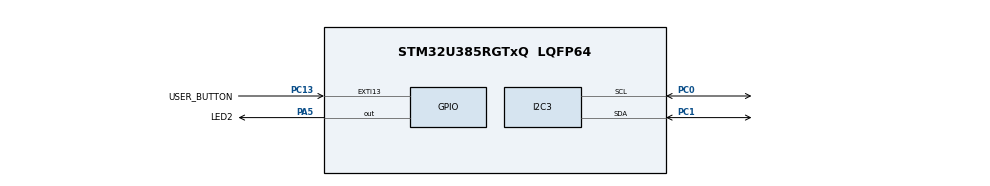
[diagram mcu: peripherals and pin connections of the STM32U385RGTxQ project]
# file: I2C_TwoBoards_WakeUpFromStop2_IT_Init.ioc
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CORTEX_M33_NS.userName=CORTEX_M33
I2C3.I2C_Fall_Time=10
I2C3.I2C_Rise_Time=50
I2C3.OwnAddress=SLAVE_OWN_ADDRESS
I2C3.Timing=0x10E0D5FF
Mcu.Family=STM32U3
Mcu.Name=STM32U385RGTxQ
Mcu.Package=LQFP64
Mcu.UserConstants=SLAVE_OWN_ADDRESS,0x5A
NVIC.EXTI13_IRQn=true\:0\:0\:false\:false\:true\:true\:true\:true
NVIC.PriorityGroup=NVIC_PRIORITYGROUP_4
PA5.GPIO_Label=LED2
PA5.GPIO_PuPd=GPIO_NOPULL
PA5.GPIO_Speed=GPIO_SPEED_FREQ_LOW
PA5.Signal=GPIO_Output
PC0.GPIO_Pu=GPIO_PULLUP
PC0.GPIO_Speed=GPIO_SPEED_FREQ_HIGH
PC0.Mode=I2C
PC0.Signal=I2C3_SCL
PC1.GPIO_Pu=GPIO_PULLUP
PC1.GPIO_Speed=GPIO_SPEED_FREQ_HIGH
PC1.Mode=I2C
PC1.Signal=I2C3_SDA
PC13.GPIO_Label=USER_BUTTON
PC13.GPIO_ModeDefaultEXTI=GPIO_MODE_IT_RISING
PC13.GPIO_PuPd=GPIO_PULLDOWN
PC13.Signal=GPXTI13
ProjectManager.HeapSize=0x200
ProjectManager.StackSize=0x400
ProjectManager.TargetToolchain=EWARM V9.30
RCC.ADCFreq_Value=96000000
RCC.AHBFreq_Value=96000000
RCC.APB1Freq_Value=96000000
RCC.APB1TimFreq_Value=96000000
RCC.APB2Freq_Value=96000000
RCC.APB2TimFreq_Value=96000000
RCC.APB3Freq_Value=96000000
RCC.CortexFreq_Value=12000000
RCC.HCLKFreq_Value=96000000
RCC.HSE_VALUE=16000000
RCC.HSI48_VALUE=48000000
RCC.HSI_VALUE=16000000
RCC.I2C1CLockSelection=RCC_I2C1CLKSOURCE_MSIK
RCC.I2C3CLockSelection=RCC_I2C3CLKSOURCE_MSIK
RCC.LSE_VALUE=32768
RCC.LSIDIV_VALUE=32000
RCC.MSISDIV=RCC_MSI_DIV1
RCC.SYSCLKFreq_VALUE=96000000
RCC.USBFreq_Value=96000000
VP_ICACHE_VS_ICACHE.Mode=DirectMappedCache
VP_PWR_VS_DBSignals.Mode=DisableDeadBatterySignals
VP_PWR_VS_LPOM.Mode=PowerOptimisation
VP_PWR_VS_SECSignals.Mode=Security/Privilege
board=custom

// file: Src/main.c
/* USER CODE BEGIN Header */
/**
  ******************************************************************************
  * @file    Examples_LL/I2C/I2C_TwoBoards_WakeUpFromStop2_IT_Init/Src/main.c
  * @author  MCD Application Team
  * @brief   This example describes how to send/receive bytes over I2C IP using
  *          the STM32U3xx I2C LL API.
  *          Peripheral initialization done using LL unitary services functions.
  ******************************************************************************
  * @attention
  *
  * Copyright (c) 2024 STMicroelectronics.
  * All rights reserved.
  *
  * This software is licensed under terms that can be found in the LICENSE file
  * in the root directory of this software component.
  * If no LICENSE file comes with this software, it is provided AS-IS.
  *
  ******************************************************************************
  */
/* USER CODE END Header */
#include "main.h"

/* USER CODE BEGIN PD */
/**
  * @brief I2C devices settings
  */
/* Timing register value is computed with the STM32CubeMX Tool,
  * Standard Mode @100kHz with I2CCLK = 96 MHz,
  * rise time = 50ns, fall time = 10ns
  * Timing Value = (uint32_t)0x00403D5A
  */
#define I2C_TIMING                     0x00403D5A

/**
  * @brief Define related to SlaveTransmit process
  */
#define SLAVE_BYTE_TO_SEND       0xA5

/* USER CODE END PD */

/* USER CODE BEGIN PV */
#ifndef SLAVE_BOARD
/**
  * @brief Variables related to MasterReceive process
  */
uint8_t      aReceiveBuffer[0xF] = {0};
__IO uint8_t ubReceiveIndex      = 0;
__IO uint8_t ubButtonPress       = 0;
#endif /* SLAVE_BOARD */
/* USER CODE END PV */

void SystemClock_Config(void);
static void MX_GPIO_Init(void);
static void MX_I2C3_Init(void);
static void MX_ICACHE_Init(void);
/* USER CODE BEGIN PFP */
void     LED_On(void);
void     LED_Off(void);
void     LED_Blinking(uint32_t Period);
#ifdef SLAVE_BOARD
void     Configure_PWR(void);
void     EnterSTOP2Mode(void);
#else /* MASTER_BOARD */
void     WaitForUserButtonPress(void);
void     Handle_I2C_Master(void);
#endif /* SLAVE_BOARD */
/* USER CODE END PFP */

int main(void)
{

  /* MCU Configuration--------------------------------------------------------*/

  /* Reset of all peripherals, Initializes the Flash interface and the Systick. */

  /* System interrupt init*/
  NVIC_SetPriorityGrouping(NVIC_PRIORITYGROUP_4);

  /* SysTick_IRQn interrupt configuration */
  NVIC_SetPriority(SysTick_IRQn, NVIC_EncodePriority(NVIC_GetPriorityGrouping(),15, 0));

  /* Configure the system clock */
  SystemClock_Config();

  /* Initialize all configured peripherals */
  MX_GPIO_Init();
  MX_I2C3_Init();
  MX_ICACHE_Init();
  /* USER CODE BEGIN 2 */

  /* Set LD2 Off */
  LED_Off();

#ifdef SLAVE_BOARD
  /* Configure Power IP */
  Configure_PWR();
  /* Enter Stop 2 mode */
  EnterSTOP2Mode();
#else /* MASTER_BOARD */

  /* Wait for User push-button press to start transfer */
  WaitForUserButtonPress();

  /* Handle I2C3 events (Master) */
  Handle_I2C_Master();
#endif /* SLAVE_BOARD */
  /* USER CODE END 2 */

  /* Infinite loop */
  while (1)
  {

  }
}

void SystemClock_Config(void)
{
  /** Enable Epod Booster
  */
  LL_AHB1_GRP2_EnableClock(LL_AHB1_GRP2_PERIPH_PWR);
  LL_RCC_SetEPODBoosterClkSource(LL_RCC_EPODBOOSTCLKSRCE_MSIS);
  LL_RCC_SetEPODBoosterClkPrescaler(LL_RCC_EPODBOOSTCLKPRESCAL_1);
  LL_PWR_EnableEPODBooster();
  while(LL_PWR_IsActiveFlag_BOOST() != 1U)
  {
  }

  /** Configure the main internal regulator output voltage
  */
  LL_PWR_SetRegulVoltageScaling(LL_PWR_REGU_VOLTAGE_SCALE1);
  while(LL_PWR_GetRegulCurrentVOS() != LL_PWR_REGU_VOLTAGE_SCALE1)
  {
  }

  /** Set Flash latency before switching to MSIS
  */
  LL_FLASH_SetLatency(LL_FLASH_LATENCY_2);
  while(LL_FLASH_GetLatency() != LL_FLASH_LATENCY_2)
  {
  }

  /** Activate MSIS as source
  */
  LL_RCC_MSIS_SetClockSource(LL_RCC_MSIS_CLOCK_SOURCE_RC0);
  LL_RCC_MSIS_SetClockDivision(LL_RCC_MSIS_CLOCK_SOURCE_RC_DIV_1);
  LL_RCC_MSI_SetMSIxClockRange();
  LL_RCC_MSIK_SetClockSource(LL_RCC_MSIK_CLOCK_SOURCE_RC0);
  LL_RCC_MSIK_SetClockDivision(LL_RCC_MSIK_CLOCK_SOURCE_RC_DIV_1);
  LL_RCC_SetSysClkSource(LL_RCC_SYS_CLKSOURCE_MSIS);

  /** Wait till System clock is ready
  */
  while(LL_RCC_GetSysClkSource() != LL_RCC_SYS_CLKSOURCE_MSIS)
  {
  }

  LL_RCC_SetAHBPrescaler(LL_RCC_HCLK_SYSCLK_DIV_1);
  LL_RCC_SetAPB1Prescaler(LL_RCC_APB1_HCLK_DIV_1);
  LL_RCC_SetAPB2Prescaler(LL_RCC_APB2_HCLK_DIV_1);
  LL_RCC_SetAPB3Prescaler(LL_RCC_APB3_HCLK_DIV_1);

  LL_Init1msTick(96000000);

  LL_SetSystemCoreClock(96000000);
}

static void MX_I2C3_Init(void)
{

  LL_I2C_InitTypeDef I2C_InitStruct = {0};

  LL_GPIO_InitTypeDef GPIO_InitStruct = {0};

  LL_RCC_SetI2CClockSource(LL_RCC_I2C3_CLKSOURCE_MSIK);

  LL_AHB2_GRP1_EnableClock(LL_AHB2_GRP1_PERIPH_GPIOC);
  /**I2C3 GPIO Configuration
  PC0   ------> I2C3_SCL
  PC1   ------> I2C3_SDA
  */
  GPIO_InitStruct.Pin = LL_GPIO_PIN_0|LL_GPIO_PIN_1;
  GPIO_InitStruct.Mode = LL_GPIO_MODE_ALTERNATE;
  GPIO_InitStruct.Speed = LL_GPIO_SPEED_FREQ_HIGH;
  GPIO_InitStruct.OutputType = LL_GPIO_OUTPUT_OPENDRAIN;
  GPIO_InitStruct.Pull = LL_GPIO_PULL_UP;
  GPIO_InitStruct.Alternate = LL_GPIO_AF_4;
  LL_GPIO_Init(GPIOC, &GPIO_InitStruct);

  /* Peripheral clock enable */
  LL_APB3_GRP1_EnableClock(LL_APB3_GRP1_PERIPH_I2C3);

  /* USER CODE BEGIN I2C3_Init 1 */
 /* Enable the I2C3 peripheral clock and I2C3 clock source ***************/

  /* Set I2C3 clock source as SYSCLK */
  LL_RCC_SetI2CClockSource(LL_RCC_I2C3_CLKSOURCE_MSIK);

  /* Configure NVIC for I2C3 **********************************************/

/* Configure NVIC for I2C3 */
  /* Configure Event IT:
   *  - Set priority for I2C3_EV_IRQn
   *  - Enable I2C3_EV_IRQn
   */
  NVIC_SetPriority(I2C3_EV_IRQn, 0);
  NVIC_EnableIRQ(I2C3_EV_IRQn);

  /* Configure Error IT:
   *  - Set priority for I2C3_ER_IRQn
   *  - Enable I2C3_ER_IRQn
   */
  NVIC_SetPriority(I2C3_ER_IRQn, 0);
  NVIC_EnableIRQ(I2C3_ER_IRQn);
  /* USER CODE END I2C3_Init 1 */

  /** I2C Initialization
  */
  LL_I2C_EnableAutoEndMode(I2C3);
  LL_I2C_DisableOwnAddress2(I2C3);
  LL_I2C_DisableGeneralCall(I2C3);
  LL_I2C_EnableClockStretching(I2C3);
  I2C_InitStruct.PeripheralMode = LL_I2C_MODE_I2C;
  I2C_InitStruct.Timing = 0x10E0D5FF;
  I2C_InitStruct.AnalogFilter = LL_I2C_ANALOGFILTER_ENABLE;
  I2C_InitStruct.DigitalFilter = 0;
  I2C_InitStruct.OwnAddress1 = SLAVE_OWN_ADDRESS;
  I2C_InitStruct.TypeAcknowledge = LL_I2C_ACK;
  I2C_InitStruct.OwnAddrSize = LL_I2C_OWNADDRESS1_7BIT;
  LL_I2C_Init(I2C3, &I2C_InitStruct);
  LL_I2C_SetOwnAddress2(I2C3, 0, LL_I2C_OWNADDRESS2_NOMASK);
  /* USER CODE BEGIN I2C3_Init 2 */
#ifdef SLAVE_BOARD
  /* Enable Wake Up From Stop */
  LL_I2C_EnableWakeUpFromStop(I2C3);

  /* Unmask wakeup with Interrupt request from I2C3 */
  LL_EXTI_EnableIT_0_31(LL_EXTI_LINE_13);

  /* (5) Enable I2C3 **********************************************************/
  LL_I2C_Enable(I2C3);

  /* (6) Enable I2C3 address match/error interrupts:
   *  - Enable Address Match Interrupt
   *  - Enable Not acknowledge received interrupt
   *  - Enable Error interrupts
   *  - Enable Stop interrupt
   */
  LL_I2C_EnableIT_ADDR(I2C3);
  LL_I2C_EnableIT_NACK(I2C3);
  LL_I2C_EnableIT_ERR(I2C3);
  LL_I2C_EnableIT_STOP(I2C3);
  #else /* MASTER_BOARD */
  LL_I2C_SetTiming(I2C3, I2C_TIMING);
  LL_I2C_EnableIT_RX(I2C3);
  LL_I2C_EnableIT_NACK(I2C3);
  LL_I2C_EnableIT_ERR(I2C3);
  LL_I2C_EnableIT_STOP(I2C3);
  #endif
  /* USER CODE END I2C3_Init 2 */

}

static void MX_ICACHE_Init(void)
{

  /** Enable instruction cache in 1-way (direct mapped cache)
  */
  LL_ICACHE_SetMode(LL_ICACHE_1WAY);
  LL_ICACHE_Enable();

}

static void MX_GPIO_Init(void)
{
  LL_EXTI_InitTypeDef EXTI_InitStruct = {0};
  LL_GPIO_InitTypeDef GPIO_InitStruct = {0};

  /* GPIO Ports Clock Enable */
  LL_AHB2_GRP1_EnableClock(LL_AHB2_GRP1_PERIPH_GPIOC);
  LL_AHB2_GRP1_EnableClock(LL_AHB2_GRP1_PERIPH_GPIOA);

  /**/
  LL_GPIO_ResetOutputPin(LED2_GPIO_Port, LED2_Pin);

  /**/
  LL_EXTI_SetEXTISource(LL_EXTI_CONFIG_PORTC, LL_EXTI_CONFIG_LINE13);

  /**/
  EXTI_InitStruct.Line_0_31 = LL_EXTI_LINE_13;
  EXTI_InitStruct.LineCommand = ENABLE;
  EXTI_InitStruct.Mode = LL_EXTI_MODE_IT;
  EXTI_InitStruct.Trigger = LL_EXTI_TRIGGER_RISING;
  LL_EXTI_Init(&EXTI_InitStruct);

  /**/
  LL_GPIO_SetPinPull(USER_BUTTON_GPIO_Port, USER_BUTTON_Pin, LL_GPIO_PULL_DOWN);

  /**/
  LL_GPIO_SetPinMode(USER_BUTTON_GPIO_Port, USER_BUTTON_Pin, LL_GPIO_MODE_INPUT);

  /**/
  GPIO_InitStruct.Pin = LED2_Pin;
  GPIO_InitStruct.Mode = LL_GPIO_MODE_OUTPUT;
  GPIO_InitStruct.Speed = LL_GPIO_SPEED_FREQ_LOW;
  GPIO_InitStruct.OutputType = LL_GPIO_OUTPUT_PUSHPULL;
  GPIO_InitStruct.Pull = LL_GPIO_PULL_NO;
  LL_GPIO_Init(LED2_GPIO_Port, &GPIO_InitStruct);

  /* EXTI interrupt init*/
  NVIC_SetPriority(EXTI13_IRQn, NVIC_EncodePriority(NVIC_GetPriorityGrouping(),0, 0));
  NVIC_EnableIRQ(EXTI13_IRQn);

}

/* USER CODE BEGIN 4 */
#ifdef SLAVE_BOARD
/**
  * @brief  Function to configure and initialize PWR IP.
  * @param  None
  * @retval None
  */
void Configure_PWR(void)
{
  /* Enable Power Clock */
  LL_AHB1_GRP2_EnableClock(LL_AHB1_GRP2_PERIPH_PWR);

  /* Ensure that HSI is wake-up system clock */
  LL_RCC_SetStopWakeupClock(LL_RCC_STOP_WAKEUP_KERCLK_MSIK);

  /* Optional: Keeping the HSI16 ON in Stop mode allows to avoid slowing down */
  /* the communication speed because of the HSI16 startup time.               */
  // LL_RCC_HSI_EnableInStopMode();
}

/**
  * @brief  Function to configure and enter in Stop 2 Mode.
  * @param  None
  * @retval None
  */
void EnterSTOP2Mode(void)
{
    /** Request to enter Stop 2 mode:
      *  - Following procedure describe in STM32U3xx Reference Manual
      *  - See PWR part, section Low-power modes, STOP2 mode
      */
    /* Set low-power mode "Stop 2" */
    LL_PWR_SetPowerMode(LL_PWR_MODE_STOP2);

    /* Set SLEEPDEEP bit of Cortex System Control Register */
    LL_LPM_EnableDeepSleep();

    /* Request Wait For Interrupt */
    __WFI();
}
#endif /* SLAVE_BOARD */

/**
  * @brief  Turn-on LD2.
  * @param  None
  * @retval None
  */
void LED_On(void)
{
  /* Turn LD2 on */
  LL_GPIO_SetOutputPin(LED2_GPIO_Port, LED2_Pin);
}

/**
  * @brief  Turn-off LD2.
  * @param  None
  * @retval None
  */
void LED_Off(void)
{
  /* Turn LD2 off */
  LL_GPIO_ResetOutputPin(LED2_GPIO_Port, LED2_Pin);
}

/**
  * @brief  Set LD2 to Blinking mode for an infinite loop (toggle period based on value provided as input parameter).
  * @param  Period : Period of time (in ms) between each toggling of LED
  *   This parameter can be user defined values. Pre-defined values used in that example are :
  *     @arg LED_BLINK_FAST : Fast Blinking
  *     @arg LED_BLINK_SLOW : Slow Blinking
  *     @arg LED_BLINK_ERROR : Error specific Blinking
  * @retval None
  */
void LED_Blinking(uint32_t Period)
{
  /* Turn LD2 on */
  LL_GPIO_SetOutputPin(LED2_GPIO_Port, LED2_Pin);

  /* Toggle IO in an infinite loop */
  while (1)
  {
    LL_GPIO_TogglePin(LED2_GPIO_Port, LED2_Pin);
    LL_mDelay(Period);
  }
}

#ifndef SLAVE_BOARD

#endif /* SLAVE_BOARD */
/******************************************************************************/
/*   IRQ HANDLER TREATMENT Functions                                          */
/******************************************************************************/
#ifdef SLAVE_BOARD
/**
  * @brief  Function called from I2C IRQ Handler when TXIS flag is set
  *         Function is in charge of transmit a byte on I2C lines.
  * @param  None
  * @retval None
  */
void Slave_Ready_To_Transmit_Callback(void)
{
  /* Send the Byte requested by the Master */
  LL_I2C_TransmitData8(I2C3, SLAVE_BYTE_TO_SEND);
}

/**
  * @brief  Function called from I2C IRQ Handler when STOP flag is set
  *         LD2 is On if data are correct.
  * @param  None
  * @retval None
  */
void Slave_Complete_Callback(void)
{
  /* Turn LD2 On:
   *  - Expected bytes have been sent
   *  - Slave Tx sequence completed successfully
   */
  LED_On();
}
#else /* MASTER_BOARD */
/**
  * @brief  Wait for User push-button press to start transfer.
  * @param  None
  * @retval None
  */
  /*  */
void WaitForUserButtonPress(void)
{
  while (ubButtonPress == 0)
  {
    LL_GPIO_TogglePin(LED2_GPIO_Port, LED2_Pin);
    LL_mDelay(LED_BLINK_FAST);
  }
  /* Turn LD2 off */
  LL_GPIO_ResetOutputPin(LED2_GPIO_Port, LED2_Pin);
}

/**
  * @brief  Function to manage User push-button
  * @param  None
  * @retval None
  */
void UserButton_Callback(void)
{
  /* Update User push-button variable : to be checked in waiting loop in main program */
  ubButtonPress = 1;
}

/**
  * @brief  This Function handle Master events to perform a transmission process
  * @note  This function is composed in one step :
  *        -1- Initiate a Start condition to the Slave device
  * @param  None
  * @retval None
  */
void Handle_I2C_Master(void)
{
  /* (1) Initiate a Start condition to the Slave device ***********************/

  /* Master Generate Start condition for a read request:
   *  - to the Slave with a 7-Bit SLAVE_OWN_ADDRESS
   *  - with a auto stop condition generation when receive 1 byte
   */
  LL_I2C_HandleTransfer(I2C3, SLAVE_OWN_ADDRESS, LL_I2C_ADDRSLAVE_7BIT, 1, LL_I2C_MODE_AUTOEND, LL_I2C_GENERATE_START_READ);
}

/**
  * @brief  Function called from I2C IRQ Handler when RXNE flag is set
  *         Function is in charge of reading byte received on I2C lines.
  * @param  None
  * @retval None
  */
void Master_Reception_Callback(void)
{
  /* Read character in Receive Data register.
  RXNE flag is cleared by reading data in RXDR register */
  aReceiveBuffer[ubReceiveIndex++] = LL_I2C_ReceiveData8(I2C3);
}

/**
  * @brief  Function called from I2C IRQ Handler when STOP flag is set
  *         Function is in charge of checking data received,
  *         LD2 is On if data are correct.
  * @param  None
  * @retval None
  */
void Master_Complete_Callback(void)
{
  /* Read Received character. RXNE flag is cleared by reading of RXDR register */
  if(aReceiveBuffer[ubReceiveIndex-1] == SLAVE_BYTE_TO_SEND)
  {
    /* Turn LD2 On:
     *  - Expected byte has been received
     *  - Master Rx sequence completed successfully
     */
    LED_On();
  }
  else
  {
    /* Call Error function */
    Error_Callback();
  }
}
#endif /* SLAVE_BOARD */

/**
  * @brief  Function called in case of error detected in I2C IT Handler
  * @param  None
  * @retval None
  */
void Error_Callback(void)
{
#ifdef SLAVE_BOARD
  /* Disable I2C3_EV_IRQn */
  NVIC_DisableIRQ(I2C3_EV_IRQn);
#else
  /* Disable I2C3_EV_IRQn */
  NVIC_DisableIRQ(I2C3_EV_IRQn);
#endif /* SLAVE_BOARD */

  /* Disable I2C3_ER_IRQn */
#ifdef SLAVE_BOARD
  NVIC_DisableIRQ(I2C3_ER_IRQn);
#else
  /* Disable I2C3_ER_IRQn */
  NVIC_DisableIRQ(I2C3_ER_IRQn);
#endif /* SLAVE_BOARD */

  /* Unexpected event : Set LD2 to Blinking mode to indicate error occurs */
  LED_Blinking(LED_BLINK_ERROR);
}

/* USER CODE END 4 */

void Error_Handler(void)
{
}
